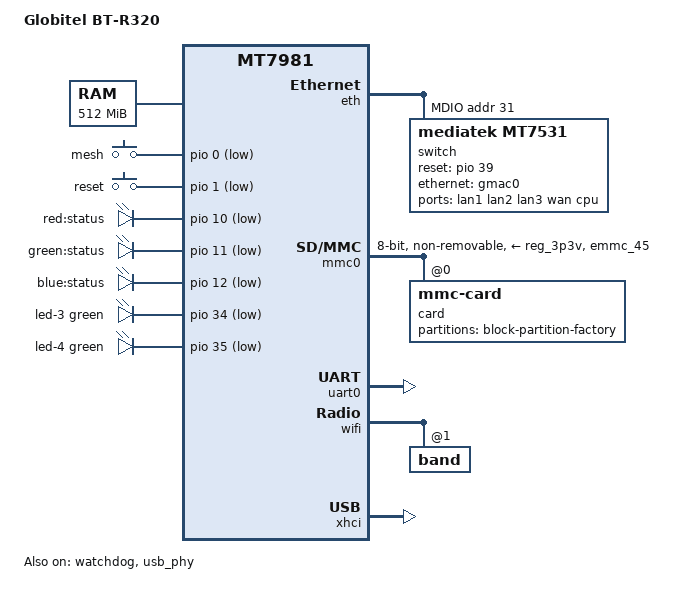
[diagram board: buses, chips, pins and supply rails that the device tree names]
// SPDX-License-Identifier: GPL-2.0-or-later OR MIT
// 声明设备树版本，并引入 GPIO、输入子系统、LED 通用定义以及 MT7981 芯片的基础定义
/dts-v1/;
#include <dt-bindings/gpio/gpio.h>
#include <dt-bindings/input/input.h>
#include <dt-bindings/leds/common.h>
#include "mt7981.dtsi"

/ {
	// 定义设备的具体型号名称和兼容性（告诉内核它兼容 MT7981 平台）
	model = "Globitel BT-R320";
	compatible = "bt,r320-emmc", "mediatek,mt7981";

	aliases {
		// 定义串口0的别名，通常用于控制台输出
		serial0 = &uart0;
		// 定义不同系统状态下对应的 LED 指示灯（用于 U-Boot 和内核引导阶段）
		led-boot = &status_red_led;      // 启动时亮红灯
		led-failsafe = &status_red_led;  // 安全/故障模式亮红灯
		led-running = &status_green_led; // 正常运行亮绿灯
		led-upgrade = &status_blue_led;  // 系统升级时亮蓝灯
	};

	chosen {
		// 传递给内核的启动参数：指定根文件系统分区名为 rootfs，并等待设备就绪
		bootargs = "root=PARTLABEL=rootfs rootwait rootfstype=squashfs overlayfs=f2fs";
		// 指定内核标准输出路径为串口0，波特率为 115200
		stdout-path = "serial0:115200n8";
	};

	// 定义内存区域：起始地址 0x40000000，大小为 0x20000000（即 512MB）
	memory@40000000 {
		reg = <0 0x40000000 0 0x20000000>;
	};

	// 定义 GPIO 按键（物理按钮）
	gpio-keys {
		compatible = "gpio-keys";

		// MESH 按键
		button-mesh {
			label = "mesh";
			linux,code = <BTN_9>;
			linux,input-type = <EV_SW>;
			gpios = <&pio 0 GPIO_ACTIVE_LOW>; // 绑定到 GPIO 0 号引脚，低电平触发
		};

		// RESET 重置按键
		button-reset {
			label = "reset";
			linux,code = <KEY_RESTART>;
			gpios = <&pio 1 GPIO_ACTIVE_LOW>; // 绑定到 GPIO 1 号引脚，低电平触发
		};
	};

	// 定义 GPIO 控制的 LED 指示灯
	gpio-leds {
		compatible = "gpio-leds";

                // 红色状态灯
                status_red_led: led-0 {
                        label = "red:status";
                        gpios = <&pio 10 GPIO_ACTIVE_LOW>; // 绑定到 GPIO 10 号引脚
                };

                // 绿色状态灯
                status_green_led: led-1 {
                        label = "green:status";
                        gpios = <&pio 11 GPIO_ACTIVE_LOW>; // 绑定到 GPIO 11 号引脚
                };

                // 蓝色状态灯
                status_blue_led: led-2 {
                        label = "blue:status";
                        gpios = <&pio 12 GPIO_ACTIVE_LOW>; // 绑定到 GPIO 12 号引脚
		};
				// 2.4G WiFi 指示灯
				led-3 {
					function = LED_FUNCTION_WLAN_2GHZ;
					color = <LED_COLOR_ID_GREEN>;
					gpios = <&pio 34 GPIO_ACTIVE_LOW>; // 绑定到 GPIO 34 号引脚
				};
		
				// 5G WiFi 指示灯
				led-4 {
					function = LED_FUNCTION_WLAN_5GHZ;
					color = <LED_COLOR_ID_GREEN>;
					gpios = <&pio 35 GPIO_ACTIVE_LOW>; // 绑定到 GPIO 35 号引脚
				};

	};
};

// 配置以太网控制器
&eth {
	status = "okay"; // 启用以太网控制器

	// 配置 GMAC0（通常用于连接 2.5G WAN 口或 SFP）
	gmac0: mac@0 {
		compatible = "mediatek,eth-mac";
		reg = <0>;
		phy-mode = "2500base-x"; // 设置为 2.5G 速率模式

		fixed-link {
			speed = <2500>; // 固定速率 2500Mbps
			full-duplex;
			pause;
		};
	};
	
	// 配置 GMAC1（通常用于连接内部交换机）
	gmac1: mac@1 {
		compatible = "mediatek,eth-mac";
		reg = <1>;
		phy-mode = "2500base-x";

		fixed-link {
			speed = <2500>;
			full-duplex;
			pause;
		};
	};

	// 定义 MDIO 总线，用于管理 PHY 和交换机芯片
	mdio: mdio-bus {
		#address-cells = <1>;
		#size-cells = <0>;

		// 配置 MT7531 交换机芯片
		switch@0 {
			compatible = "mediatek,mt7531";
			reg = <31>;
			reset-gpios = <&pio 39 0>; // 交换机复位引脚绑定到 GPIO 39

			ports {
				#address-cells = <1>;
				#size-cells = <0>;

				// 交换机物理端口定义
				port@1 {
					reg = <1>;
					label = "lan1"; // 定义交换机 1 号端口为物理 LAN1 口
				};

				port@2 {
					reg = <2>;
					label = "lan2"; // 定义交换机 2 号端口为物理 LAN2 口
				};

				port@3 {
					reg = <3>;
					label = "lan3"; // 定义交换机 3 号端口为物理 LAN3 口
				};

				port@4 {
					reg = <4>;
					label = "wan";  // 定义交换机 4 号端口为物理 WAN 口
				};
				
				// 定义连接到 CPU 的内部端口
				port@6 {
					reg = <6>;
					label = "cpu";
					ethernet = <&gmac0>; // 绑定到 GMAC0
					phy-mode = "2500base-x";

					fixed-link {
						speed = <2500>;
						full-duplex;
						pause;
					};
				};
			};
		};
	};
};

// 配置 eMMC 存储控制器
&mmc0 {
	bus-width = <8>; // 8位数据总线宽度
	cap-mmc-highspeed; // 支持 MMC 高速模式
	max-frequency = <52000000>; // 最大频率 52MHz
	no-sd; // 不支持 SD 卡
	no-sdio; // 不支持 SDIO
	non-removable; // 不可移动设备（板载 eMMC）
	pinctrl-names = "default", "state_uhs";
	pinctrl-0 = <&mmc0_pins_default>;
	pinctrl-1 = <&mmc0_pins_uhs>;
	vmmc-supply = <&reg_3p3v>; // 供电电压 3.3V
	status = "okay";

	card@0 {
		compatible = "mmc-card";
		reg = <0>;

		block {
			compatible = "block-device";

			partitions {
				// 定义 factory 分区（用于存放出厂校准数据和 MAC 地址）
				block-partition-factory {
					partname = "factory";

					nvmem-layout {
						compatible = "fixed-layout";
						#address-cells = <1>;
						#size-cells = <1>;

						// 读取 eeprom 数据（用于 WiFi 校准）
						eeprom_factory_0: eeprom@0 {
							reg = <0x0 0x1000>; // 偏移量 0x0，大小 0x1000
						};

						// 读取基础 MAC 地址
						macaddr_factory_4: macaddr@4 {
							compatible = "mac-base";
							reg = <0x4 0x6>; // 偏移量 0x4，大小 6 字节
							#nvmem-cell-cells = <1>;
						};
					};
				};
			};
		};
	};
};

// 配置 GPIO 引脚复用
&pio {
	mmc0_pins_default: mmc0-pins-default {
		mux {
			function = "flash";
			groups = "emmc_45";
		};
	};

	mmc0_pins_uhs: mmc0-pins-uhs {
		mux {
			function = "flash";
			groups = "emmc_45";
		};
	};
};

// 启用串口0
&uart0 {
	status = "okay";
};

// 启用硬件看门狗（用于系统死机时自动重启）
&watchdog {
	status = "okay";
};

// 配置 WiFi 模块
&wifi {
	nvmem-cells = <&eeprom_factory_0>; // 从 factory 分区读取 eeprom 校准数据
	nvmem-cell-names = "eeprom";
	status = "okay";

	band@1 {
		reg = <1>;
		// 从 factory 分区的 macaddr@4 读取 MAC 地址，并基于此偏移 1 个地址
		nvmem-cells = <&macaddr_factory_4 1>;
		nvmem-cell-names = "mac-address";
	};
};

// 启用 USB PHY（物理层）
&usb_phy {
	status = "okay";
};

// 启用 xHCI 控制器（即开启 USB 3.0 接口功能）
&xhci {
	status = "okay";
};
